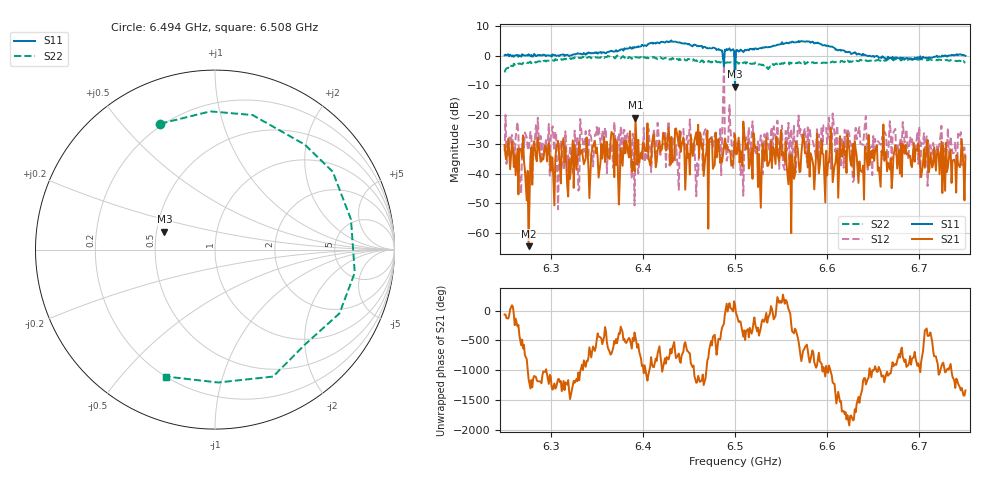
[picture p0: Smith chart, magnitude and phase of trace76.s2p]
# Hz S RI R 50
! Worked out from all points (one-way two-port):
!   401 points, 6.25 GHz to 6.75 GHz, reference 50 ohm
!   highest |S21| = -21.02 dB at 6.392 GHz (marker M1); lowest = -64.5 dB at 6.276 GHz (marker M2)
!   lowest |S11| = -10.5 dB at 6.5 GHz (marker M3), VSWR 1.85, Z = 27.5 + j5.99 ohm
!   |S11| at or under -10 dB: 6.49996 GHz to 6.500041 GHz (80.61 kHz wide, 0.00124 % of centre)
!   |S22| runs from -5.6 to 0.0 dB; largest |S21 - S12| = 0.75
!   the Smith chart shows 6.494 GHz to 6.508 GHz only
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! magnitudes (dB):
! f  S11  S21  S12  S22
! 6.25 GHz  0.1  -30.2  -32.4  -5.6
! 6.269 GHz  0.5  -34.4  -30.7  -2.9
! 6.276 GHz  0.5  -64.5  -32.1  -2.5
! 6.284 GHz  -0.1  -34.6  -23.5  -2.3
! 6.32 GHz  -0.1  -35.2  -36.9  -0.8
! 6.334 GHz  0.5  -31.9  -27.6  -0.7
! 6.368 GHz  1.4  -26.8  -38.1  -0.4
! 6.376 GHz  2.1  -31.3  -23.9  -0.9
! 6.381 GHz  2.3  -33.1  -31.1  -0.6
! 6.392 GHz  2.8  -21.0  -27.2  -0.5
! 6.418 GHz  4.2  -28.9  -29.7  -1.1
! 6.438 GHz  4.5  -28.2  -38.6  -1.2
! 6.45 GHz  4.0  -33.2  -28.3  -1.1
! 6.458 GHz  3.5  -26.0  -47.6  -1.6
! 6.469 GHz  2.6  -32.8  -28.2  -1.8
! 6.5 GHz  -10.5  -26.6  -26.8  -2.2
! 6.509 GHz  1.3  -22.3  -47.4  -2.5
! 6.518 GHz  2.3  -31.5  -27.4  -2.8
! 6.584 GHz  4.7  -35.4  -28.6  -2.3
! 6.661 GHz  -0.6  -23.3  -35.1  -1.5
! 6.668 GHz  -0.8  -38.5  -22.2  -1.2
! 6.75 GHz  -0.1  -34.0  -34.8  -2.4
